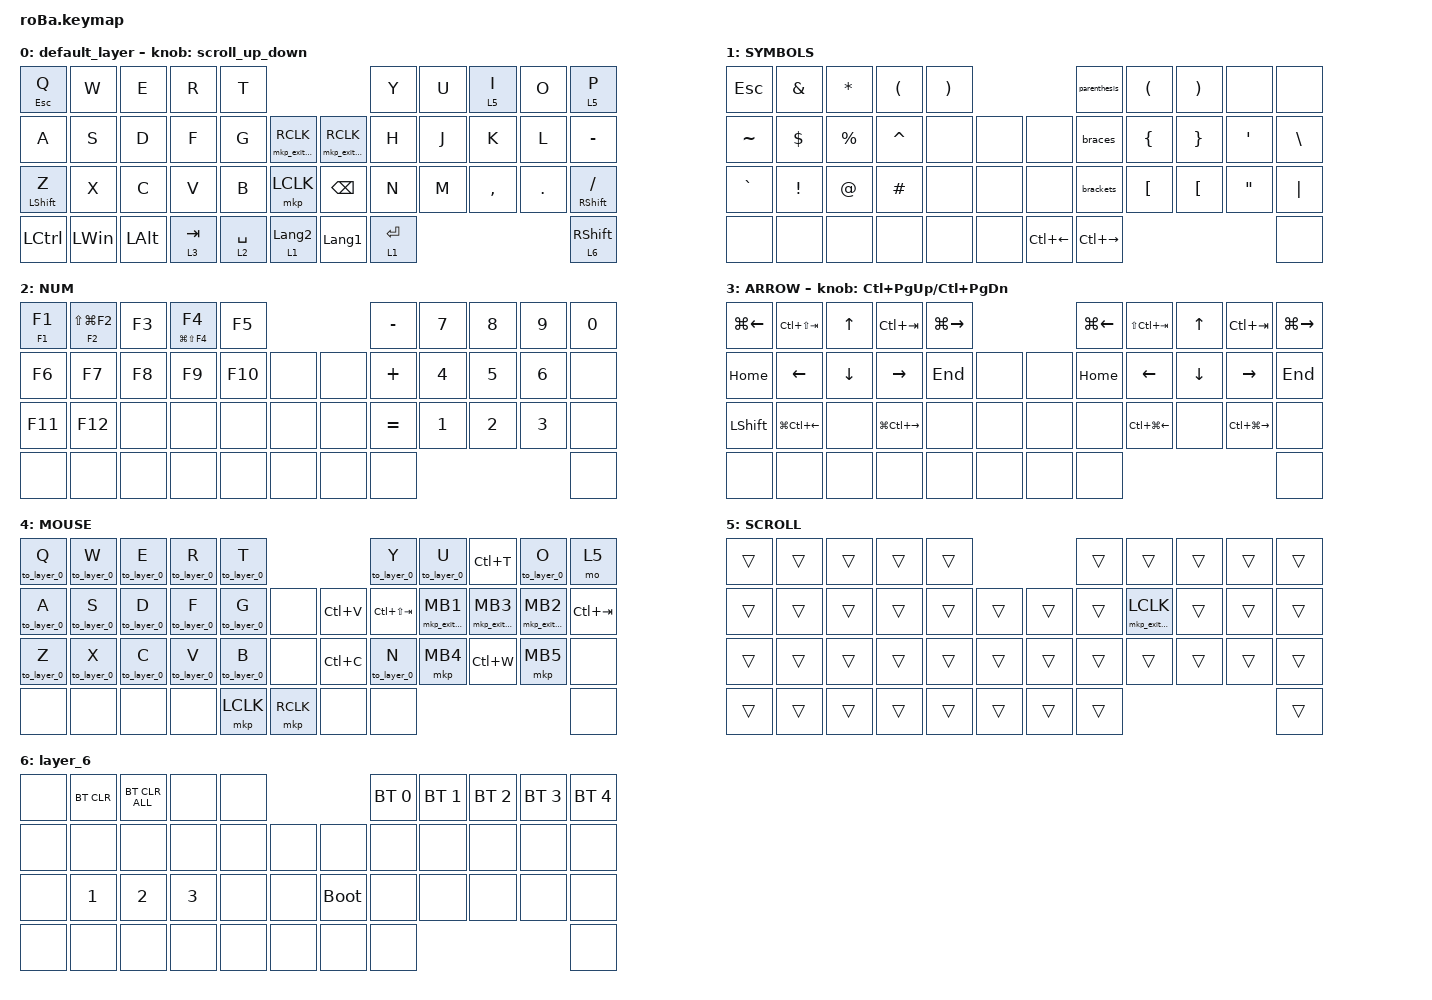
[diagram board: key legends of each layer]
#include <behaviors.dtsi>
#include <dt-bindings/zmk/bt.h>
#include <dt-bindings/zmk/keys.h>
#include <dt-bindings/zmk/pointing.h>

#define ZMK_POINTING_DEFAULT_SCRL_VAL 100
#define MOUSE 4
#define SCROLL 5
#define NUM 6

&mt {
    flavor = "hold-preferred";
    quick-tap-ms = <0>;
};

&sl { release-after-ms = <250>; };

/ {
    combos { compatible = "zmk,combos"; };

    macros {
        to_layer_0: to_layer_0 {
            compatible = "zmk,behavior-macro-one-param";
            #binding-cells = <1>;
            bindings = <&to 0 &macro_param_1to1 &kp MACRO_PLACEHOLDER>;
            label = "TO_LAYER_0";
        };

        mkp_exit_AML: mkp_exit_AML {
            compatible = "zmk,behavior-macro-one-param";
            #binding-cells = <1>;
            bindings =
                <&macro_press>,
                <&macro_param_1to1 &mkp MACRO_PLACEHOLDER>,
                <&macro_pause_for_release>,
                <&macro_release>,
                <&macro_param_1to1 &mkp MACRO_PLACEHOLDER>,
                <&macro_tap>,
                <&sl 4>;

            label = "MKP_EXIT_AML";
        };

        parenthesis: parenthesis {
            compatible = "zmk,behavior-macro";
            #binding-cells = <0>;
            bindings = <&kp LANG_HANJA &kp LEFT_PARENTHESIS &kp RIGHT_PARENTHESIS &kp LEFT_ARROW>;
            label = "parenthesis";
        };

        braces: curly_rackets {
            compatible = "zmk,behavior-macro";
            #binding-cells = <0>;
            bindings = <&kp LANG_HANJA &kp LEFT_BRACE &kp RIGHT_BRACE &kp LEFT_ARROW>;
            label = "CURLY_RACKETS";
        };

        brackets: new_macro {
            compatible = "zmk,behavior-macro";
            #binding-cells = <0>;
            bindings = <&kp LANG_HANJA &kp LEFT_BRACKET &kp RIGHT_BRACKET &kp LEFT_ARROW>;
            label = "NEW_MACRO";
        };
    };

    behaviors {
        scroll_up_down: behavior_sensor_rotate_mouse_wheel_up_down {
            compatible = "zmk,behavior-sensor-rotate";
            #sensor-binding-cells = <0>;
            bindings = <&msc SCRL_DOWN>, <&msc SCRL_UP>;

            // 追加: スクロールのタップ時間を設定 (20ms)

            tap-ms = <20>;
        };

        multi_tap_tab_bspc: behavior_multi_tap {
            label = "MT_TAB_BSPC";
            #binding-cells = <0>;
            bindings = <&kp TAB>, <&kp BSPC>;

            max-taps = <2>;
            max-tap-interrupt-ms = <250>;
        };
    };

    keymap {
        compatible = "zmk,keymap";

        default_layer {
            bindings = <
&mt ESCAPE Q      &kp W         &kp E         &kp R      &kp T                                                    &kp Y        &kp U  &lt 5 I    &kp O    &lt 5 P
&kp A             &kp S         &kp D         &kp F      &kp G        &mkp_exit_AML RCLK      &mkp_exit_AML RCLK  &kp H        &kp J  &kp K      &kp L    &kp MINUS
&mt LEFT_SHIFT Z  &kp X         &kp C         &kp V      &kp B        &mkp LCLK               &kp BACKSPACE       &kp N        &kp M  &kp COMMA  &kp DOT  &mt RIGHT_SHIFT SLASH
&kp LCTRL         &kp LEFT_WIN  &kp LEFT_ALT  &lt 3 TAB  &lt 2 SPACE  &lt 1 LANGUAGE_2        &kp LANGUAGE_1      &lt 1 ENTER                             &lt 6 RIGHT_SHIFT
            >;

            sensor-bindings = <&scroll_up_down>;
        };

        SYMBOLS {
            bindings = <
&kp ESCAPE  &kp AMPERSAND    &kp ASTERISK  &kp LEFT_PARENTHESIS  &kp RIGHT_PARENTHESIS                                 &parenthesis   &kp LEFT_PARENTHESIS  &kp RIGHT_PARENTHESIS  &none              &none
&kp TILDE   &kp DOLLAR       &kp PERCENT   &kp CARET             &none                  &none      &none               &braces        &kp LEFT_BRACE        &kp RIGHT_BRACE        &kp SINGLE_QUOTE   &kp BACKSLASH
&kp GRAVE   &kp EXCLAMATION  &kp AT_SIGN   &kp HASH              &none                  &none      &none               &brackets      &kp LEFT_BRACKET      &kp LEFT_BRACKET       &kp DOUBLE_QUOTES  &kp PIPE
&none       &none            &none         &none                 &none                  &none      &kp LC(LEFT_ARROW)  &kp LC(RIGHT)                                                                  &none
            >;
        };

        NUM {
            bindings = <
&mt F1 F1  &mt F2 LS(LG(F2))  &kp F3  &mt LG(LS(F4)) F4  &kp F5                     &kp MINUS  &kp NUMBER_7  &kp NUMBER_8  &kp NUMBER_9  &kp NUMBER_0
&kp F6     &kp F7             &kp F8  &kp F9             &kp F10  &none      &none  &kp PLUS   &kp NUMBER_4  &kp N5        &kp NUMBER_6  &none
&kp F11    &kp F12            &none   &none              &none    &none      &none  &kp EQUAL  &kp NUMBER_1  &kp NUMBER_2  &kp NUMBER_3  &none
&none      &none              &none   &none              &none    &none      &none  &none                                                &none
            >;
        };

        ARROW {
            bindings = <
&kp LG(LEFT_ARROW)  &kp LC(LS(TAB))         &kp UP_ARROW    &kp LC(TAB)              &kp LG(RIGHT_ARROW)                    &kp LG(LEFT_ARROW)  &kp LS(LC(TAB))         &kp UP_ARROW    &kp LC(TAB)              &kp LG(RIGHT_ARROW)
&kp HOME            &kp LEFT_ARROW          &kp DOWN_ARROW  &kp RIGHT_ARROW          &kp END              &none      &none  &kp HOME            &kp LEFT_ARROW          &kp DOWN_ARROW  &kp RIGHT_ARROW          &kp END
&kp LEFT_SHIFT      &kp LG(LC(LEFT_ARROW))  &none           &kp LG(LC(RIGHT_ARROW))  &none                &none      &none  &none               &kp LC(LG(LEFT_ARROW))  &none           &kp LC(LG(RIGHT_ARROW))  &none
&none               &none                   &none           &none                    &none                &none      &none  &none                                                                                &none
            >;

            sensor-bindings = <&inc_dec_kp LC(PAGE_UP) LC(PAGE_DOWN)>;
        };

        MOUSE {
            bindings = <
&to_layer_0 Q  &to_layer_0 W  &to_layer_0 E  &to_layer_0 R  &to_layer_0 T                            &to_layer_0 Y    &to_layer_0 U      &kp LC(T)          &to_layer_0 O      &mo 5
&to_layer_0 A  &to_layer_0 S  &to_layer_0 D  &to_layer_0 F  &to_layer_0 G  &none          &kp LC(V)  &kp LC(LS(TAB))  &mkp_exit_AML MB1  &mkp_exit_AML MB3  &mkp_exit_AML MB2  &kp LC(TAB)
&to_layer_0 Z  &to_layer_0 X  &to_layer_0 C  &to_layer_0 V  &to_layer_0 B  &none          &kp LC(C)  &to_layer_0 N    &mkp MB4           &kp LC(W)          &mkp MB5           &none
&none          &none          &none          &none          &mkp LCLK      &mkp RCLK      &none      &none                                                                     &none
            >;
        };

        SCROLL {
            bindings = <
&trans  &trans  &trans  &trans  &trans                      &trans  &trans              &trans  &trans  &trans
&trans  &trans  &trans  &trans  &trans  &trans      &trans  &trans  &mkp_exit_AML LCLK  &trans  &trans  &trans
&trans  &trans  &trans  &trans  &trans  &trans      &trans  &trans  &trans              &trans  &trans  &trans
&trans  &trans  &trans  &trans  &trans  &trans      &trans  &trans                                      &trans
            >;
        };

        layer_6 {
            bindings = <
&none  &bt BT_CLR    &bt BT_CLR_ALL  &none         &none                          &bt BT_SEL 0  &bt BT_SEL 1  &bt BT_SEL 2  &bt BT_SEL 3  &bt BT_SEL 4
&none  &none         &none           &none         &none  &none      &none        &none         &none         &none         &none         &none
&none  &kp NUMBER_1  &kp NUMBER_2    &kp NUMBER_3  &none  &none      &bootloader  &none         &none         &none         &none         &none
&none  &none         &none           &none         &none  &none      &none        &none                                                   &none
            >;
        };
    };
};
